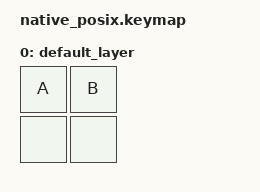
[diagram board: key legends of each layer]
#include <dt-bindings/zmk/keys.h>
#include <behaviors.dtsi>
#include <dt-bindings/zmk/kscan-mock.h>

/ {
	behaviors {
		combo_one {
			compatible = "zmk,behavior-combo";
			label = "COMBO_ONE";
			timeout-ms = <30>;
			key-positions = <0 1>;
			bindings = <&kp C>;
		};
		combo_two {
			compatible = "zmk,behavior-combo";
			label = "COMBO_TWO";
			timeout-ms = <120>;
			key-positions = <0 1 2>;
			bindings = <&kp C>;
		};
	};

	keymap {
		compatible = "zmk,keymap";
		label ="Default keymap";

		default_layer {
			bindings = <
				&kp A &kp B
				&none &none
			>;
		};
	};
};

&kscan {
	events = <
		ZMK_MOCK_PRESS(0,0,100)
		ZMK_MOCK_PRESS(0,1,10)
		ZMK_MOCK_RELEASE(0,0,10) 
		ZMK_MOCK_RELEASE(0,1,10)
	>;
};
